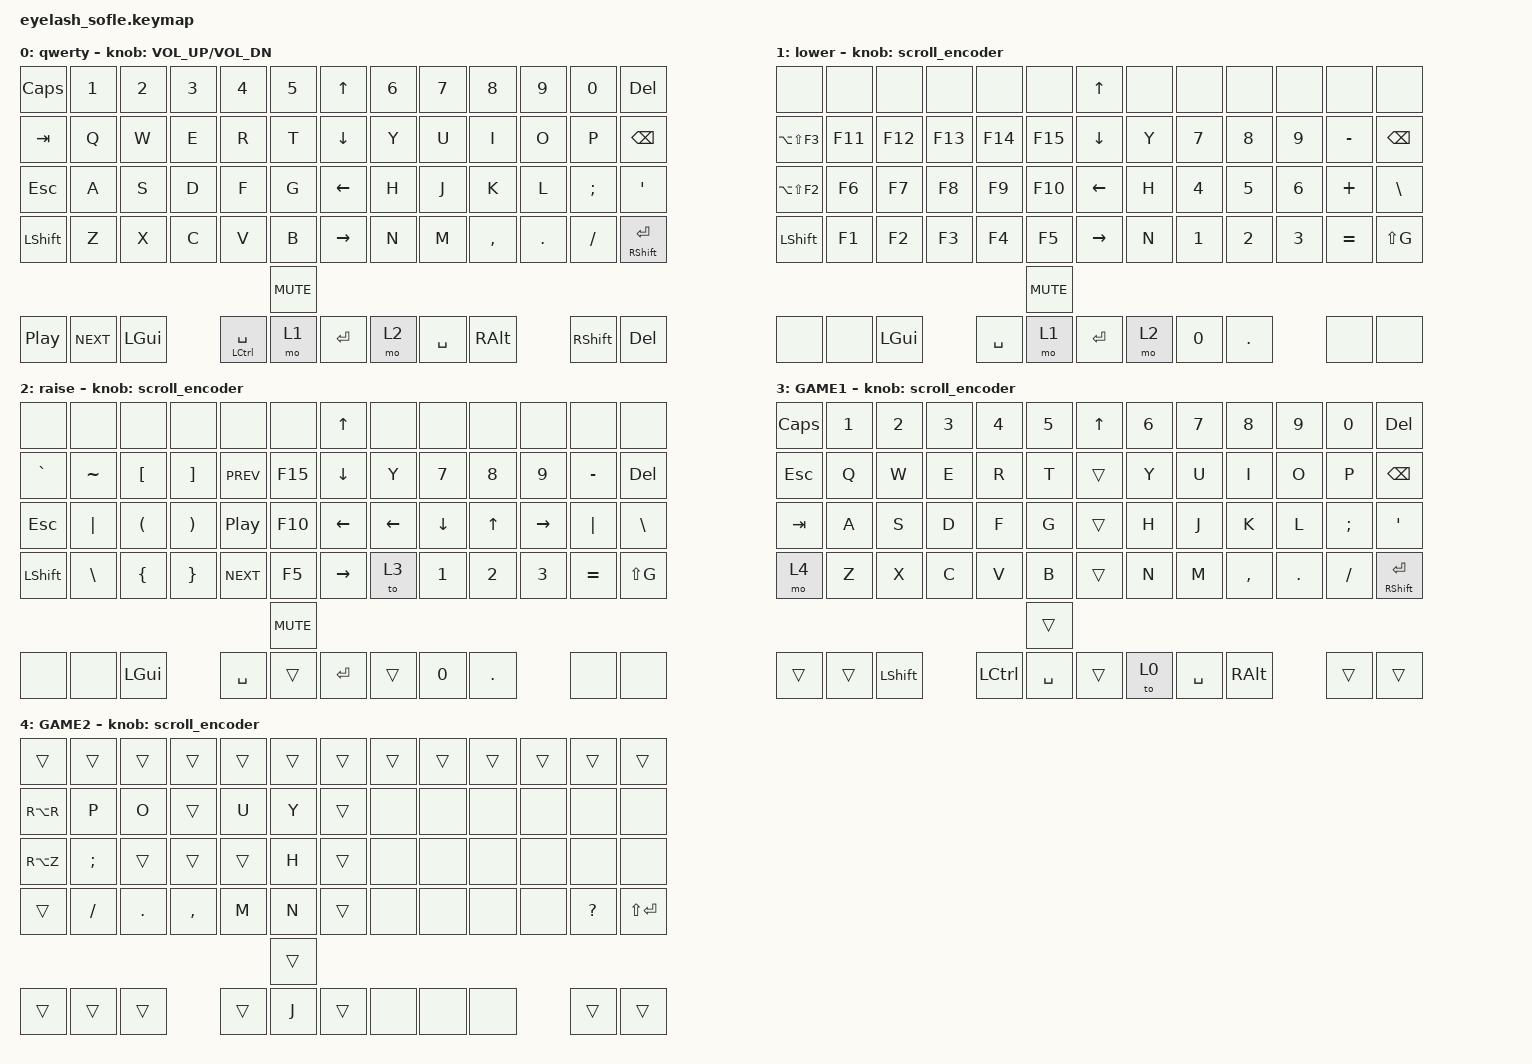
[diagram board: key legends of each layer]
#define ZMK_POINTING_DEFAULT_MOVE_VAL 1200  // 600
#define ZMK_POINTING_DEFAULT_SCRL_VAL 25   // 10

#include <input/processors.dtsi>
#include <zephyr/dt-bindings/input/input-event-codes.h>
#include <behaviors.dtsi>
#include <dt-bindings/zmk/bt.h>
#include <dt-bindings/zmk/keys.h>
#include <dt-bindings/zmk/outputs.h>
#include <dt-bindings/zmk/pointing.h>
#include <dt-bindings/zmk/rgb.h>
#include <dt-bindings/zmk_bthome/button.h>

&mmv_input_listener { input-processors = <&zip_xy_scaler 2 1>; };

&msc_input_listener { input-processors = <&zip_scroll_scaler 2 1>; };

&msc {
    acceleration-exponent = <1>;      // 0
    time-to-max-speed-ms = <100>;       // 300
    delay-ms = <0>;                   // 0
};

&mmv {
    time-to-max-speed-ms = <500>;
    acceleration-exponent = <1>;
    trigger-period-ms = <16>;
};

&soft_off { hold-time-ms = <2000>; };

/ {
    scroll_encoder: scroll_encoder {
        compatible = "zmk,behavior-sensor-rotate";
        #sensor-binding-cells = <0>;
        bindings = <&msc SCRL_DOWN>, <&msc SCRL_UP>;

        tap-ms = <100>;
    };

    behaviors {
        // name can be anything, but ORDER matters
        bthome0: bthome_button0 {
            compatible = "zmk,behavior-bthome-button";
            #binding-cells = <1>;
            display-name = "BTH Button 1"; // Optional, shown in ZMK Studio
        };
        bthome1: bthome_button1 {
            compatible = "zmk,behavior-bthome-button";
            #binding-cells = <1>;
            display-name = "BTH Button 2";
        };
        bthome2: bthome_button2 {
            compatible = "zmk,behavior-bthome-button";
            #binding-cells = <1>;
            display-name = "BTH Button 3";
        };
    };

    combos {
        compatible = "zmk,combos";

        softoff {
            bindings = <&soft_off>;
            key-positions = <14 28 40>;
        };
    };

    macros {
        // Switch to Game1 (Layer 3) and turn the whole board Blue
        to_game1: to_game1 {
            compatible = "zmk,behavior-macro";
            #binding-cells = <0>;
            bindings = 
                <&to 3>, 
                <&rgb_ug RGB_ON>, 
                <&rgb_ug RGB_COLOR_HSB(240,100,100)>; // Hue 240 is Blue
        };

        // Momentarily hold Game2 (Layer 4) and turn the board Purple
        mo_game2: mo_game2 {
            compatible = "zmk,behavior-macro";
            #binding-cells = <0>;
            wait-ms = <0>;
            tap-ms = <0>;
            bindings = 
                <&macro_press &mo 4>,
                <&macro_tap &rgb_ug RGB_COLOR_HSB(280,100,100)>, // Hue 280 is Purple
                <&macro_pause_for_release>,
                <&macro_release &mo 4>,
                <&macro_tap &rgb_ug RGB_COLOR_HSB(240,100,100)>; // Revert to Blue on release
        };

        // Return to default QWERTY (Layer 0) and turn RGB off
        to_qwerty: to_qwerty {
            compatible = "zmk,behavior-macro";
            #binding-cells = <0>;
            bindings = 
                <&to 0>, 
                <&rgb_ug RGB_OFF>; // Turn lights off when exiting the game
        };

        SHIFT_MCLK: SHIFT_MCLK {
            compatible = "zmk,behavior-macro";
            #binding-cells = <0>;
            bindings =
                <&macro_press>,
                <&kp LEFT_SHIFT>,
                <&macro_press>,
                <&mkp MB3>,
                <&macro_pause_for_release>,
                <&macro_release>,
                <&kp LEFT_SHIFT &mkp MB3>;

            label = "SHIFT_MCLK";
        };
    };

    keymap {
        compatible = "zmk,keymap";

        layer0 {
            bindings = <
//    ,-----------------------------------------------------------------------------.        ,---------------------.        ,-----------------------------------------------------------------------------.
       &kp CAPS               &kp N1     &kp N2     &kp N3     &kp N4     &kp N5              &kp UP_ARROW                   &kp N6     &kp N7     &kp N8     &kp N9     &kp N0     &kp DEL
//    |----------------------+----------+----------+----------+----------+----------|        |                     |        |----------+----------+----------+----------+----------+----------------------|
       &kp TAB                &kp Q      &kp W      &kp E      &kp R      &kp T               &kp DOWN_ARROW                 &kp Y      &kp U      &kp I      &kp O      &kp P      &kp BSPC
//    |----------------------+----------+----------+----------+----------+----------|        |                     |        |----------+----------+----------+----------+----------+----------------------|
       &kp ESC                &kp A      &kp S      &kp D      &kp F      &kp G               &kp LEFT_ARROW                 &kp H      &kp J      &kp K      &kp L      &kp SEMI   &kp APOS
//    |----------------------+----------+----------+----------+----------+----------|        |                     |        |----------+----------+----------+----------+----------+----------------------|
       &kp LSHFT              &kp Z      &kp X      &kp C      &kp V      &kp B               &kp RIGHT_ARROW                &kp N      &kp M      &kp COMMA  &kp DOT    &kp FSLH   &mt RSHFT ENTER
//     ----------------------+----------+----------+----------+----------+----------|                                       |----------+----------+----------+----------+----------+----------------------
                                                                          &kp C_MUTE
//           ,--------------+--------------+--------------+--------------+--------------.    |                     |    ,--------------+--------------+--------------+--------------+-------------.
              &kp C_PP       &kp C_NEXT     &kp LGUI       &mt LCTRL SPACE &mo 1               &kp ENTER                  &mo 2          &kp SPACE      &kp RALT       &kp RSHFT      &kp DELETE
//            --------------+--------------+--------------+--------------+--------------                                 --------------+--------------+--------------+--------------+-------------
            >;

            sensor-bindings = <&inc_dec_kp C_VOLUME_UP C_VOL_DN>;
            display-name = "qwerty";
        };

        layer_1 {
            bindings = <
//    ,-----------------------------------------------------------------------------.        ,---------------------.        ,-----------------------------------------------------------------------------.
       &none                  &none      &none      &none      &none      &none               &kp UP_ARROW                   &none      &none      &none      &none      &none      &none
//    |----------------------+----------+----------+----------+----------+----------|        |                     |        |----------+----------+----------+----------+----------+----------------------|
       &kp LA(LS(F3))         &kp F11    &kp F12    &kp F13    &kp F14    &kp F15             &kp DOWN_ARROW                 &kp Y      &kp N7     &kp N8     &kp N9     &kp MINUS  &kp BSPC
//    |----------------------+----------+----------+----------+----------+----------|        |                     |        |----------+----------+----------+----------+----------+----------------------|
       &kp LA(LS(F2))         &kp F6     &kp F7     &kp F8     &kp F9     &kp F10             &kp LEFT_ARROW                 &kp H      &kp N4     &kp N5     &kp N6     &kp PLUS   &kp BSLH
//    |----------------------+----------+----------+----------+----------+----------|        |                     |        |----------+----------+----------+----------+----------+----------------------|
       &kp LSHFT              &kp F1     &kp F2     &kp F3     &kp F4     &kp F5              &kp RIGHT_ARROW                &kp N      &kp N1     &kp N2     &kp N3     &kp EQUAL  &kp LS(G)
//     ----------------------+----------+----------+----------+----------+----------|                                       |----------+----------+----------+----------+----------+----------------------
                                                                          &kp C_MUTE
//           ,--------------+--------------+--------------+--------------+--------------.    |                     |    ,--------------+--------------+--------------+--------------+-------------.
              &none          &none          &kp LGUI       &kp SPACE      &mo 1               &kp ENTER                  &mo 2          &kp N0         &kp DOT        &none          &none
//            --------------+--------------+--------------+--------------+--------------                                 --------------+--------------+--------------+--------------+-------------
            >;

            display-name = "lower";
            sensor-bindings = <&scroll_encoder>;
        };

        layer_2 {
            bindings = <
//    ,-----------------------------------------------------------------------------.        ,---------------------.        ,-----------------------------------------------------------------------------.
       &none                  &none      &none      &none      &none      &none               &kp UP_ARROW                   &none      &none      &none      &none      &none      &none
//    |----------------------+----------+----------+----------+----------+----------|        |                     |        |----------+----------+----------+----------+----------+----------------------|
       &kp GRAVE              &kp TILDE  &kp LBKT   &kp RBKT   &kp C_PREV &kp F15             &kp DOWN_ARROW                 &kp Y      &kp N7     &kp N8     &kp N9     &kp MINUS  &kp DELETE
//    |----------------------+----------+----------+----------+----------+----------|        |                     |        |----------+----------+----------+----------+----------+----------------------|
       &kp ESC                &kp PIPE   &kp LPAR   &kp RPAR   &kp C_PP   &kp F10             &kp LEFT_ARROW                 &kp LEFT   &kp DOWN   &kp UP     &kp RIGHT  &kp PIPE   &kp BSLH
//    |----------------------+----------+----------+----------+----------+----------|        |                     |        |----------+----------+----------+----------+----------+----------------------|
       &kp LSHFT              &kp BSLH   &kp LBRC   &kp RBRC   &kp C_NEXT &kp F5              &kp RIGHT_ARROW                &to 3      &kp N1     &kp N2     &kp N3     &kp EQUAL  &kp LS(G)
//     ----------------------+----------+----------+----------+----------+----------|                                       |----------+----------+----------+----------+----------+----------------------
                                                                          &kp C_MUTE
//           ,--------------+--------------+--------------+--------------+--------------.    |                     |    ,--------------+--------------+--------------+--------------+-------------.
              &none          &none          &kp LGUI       &kp SPACE      &trans              &kp ENTER                  &trans         &kp N0         &kp DOT        &none          &none
//            --------------+--------------+--------------+--------------+--------------                                 --------------+--------------+--------------+--------------+-------------
            >;

            display-name = "raise";
            sensor-bindings = <&scroll_encoder>;
        };

        layer_3 {
            bindings = <
//    ,-----------------------------------------------------------------------------.        ,---------------------.        ,-----------------------------------------------------------------------------.
       &kp CAPS               &kp N1     &kp N2     &kp N3     &kp N4     &kp N5              &kp UP_ARROW                   &kp N6     &kp N7     &kp N8     &kp N9     &kp N0     &kp DEL
//    |----------------------+----------+----------+----------+----------+----------|        |                     |        |----------+----------+----------+----------+----------+----------------------|
       &kp ESC                &kp Q      &kp W      &kp E      &kp R      &kp T               &trans                         &kp Y      &kp U      &kp I      &kp O      &kp P      &kp BSPC
//    |----------------------+----------+----------+----------+----------+----------|        |                     |        |----------+----------+----------+----------+----------+----------------------|
       &kp TAB                &kp A      &kp S      &kp D      &kp F      &kp G               &trans                         &kp H      &kp J      &kp K      &kp L      &kp SEMI   &kp APOS
//    |----------------------+----------+----------+----------+----------+----------|        |                     |        |----------+----------+----------+----------+----------+----------------------|
       &mo 4                  &kp Z      &kp X      &kp C      &kp V      &kp B               &trans                         &kp N      &kp M      &kp COMMA  &kp DOT    &kp FSLH   &mt RSHFT ENTER
//     ----------------------+----------+----------+----------+----------+----------|                                       |----------+----------+----------+----------+----------+----------------------
                                                                          &trans
//           ,--------------+--------------+--------------+--------------+--------------.    |                     |    ,--------------+--------------+--------------+--------------+-------------.
              &trans         &trans         &kp LSHFT      &kp LCTRL      &kp SPACE           &trans                     &to 0          &kp SPACE      &kp RALT       &trans         &trans
//            --------------+--------------+--------------+--------------+--------------                                 --------------+--------------+--------------+--------------+-------------
            >;
            display-name = "GAME1";
            sensor-bindings = <&scroll_encoder>;
        };

        layer_4 {
            bindings = <
//    ,-----------------------------------------------------------------------------.        ,---------------------.        ,-----------------------------------------------------------------------------.
       &trans                 &trans     &trans     &trans     &trans     &trans              &trans                         &trans     &trans     &trans     &trans     &trans     &trans
//    |----------------------+----------+----------+----------+----------+----------|        |                     |        |----------+----------+----------+----------+----------+----------------------|
       &kp RA(R)              &kp P      &kp O      &trans     &kp U      &kp Y               &trans                         &none      &none      &none      &none      &none      &none
//    |----------------------+----------+----------+----------+----------+----------|        |                     |        |----------+----------+----------+----------+----------+----------------------|
       &kp RA(Z)              &kp SEMI   &trans     &trans     &trans     &kp H               &trans                         &none      &none      &none      &none      &none      &none
//    |----------------------+----------+----------+----------+----------+----------|        |                     |        |----------+----------+----------+----------+----------+----------------------|
       &trans                 &kp FSLH   &kp DOT    &kp COMMA  &kp M      &kp N               &trans                         &none      &none      &none      &none      &kp QMARK  &kp LS(ENTER)
//     ----------------------+----------+----------+----------+----------+----------|                                       |----------+----------+----------+----------+----------+----------------------
                                                                          &trans
//           ,--------------+--------------+--------------+--------------+--------------.    |                     |    ,--------------+--------------+--------------+--------------+-------------.
              &trans         &trans         &trans         &trans         &kp J               &trans                     &none          &none          &none          &trans         &trans
//            --------------+--------------+--------------+--------------+--------------                                 --------------+--------------+--------------+--------------+-------------
            >;
            display-name = "GAME2";
            sensor-bindings = <&scroll_encoder>;
        };
    };

};
